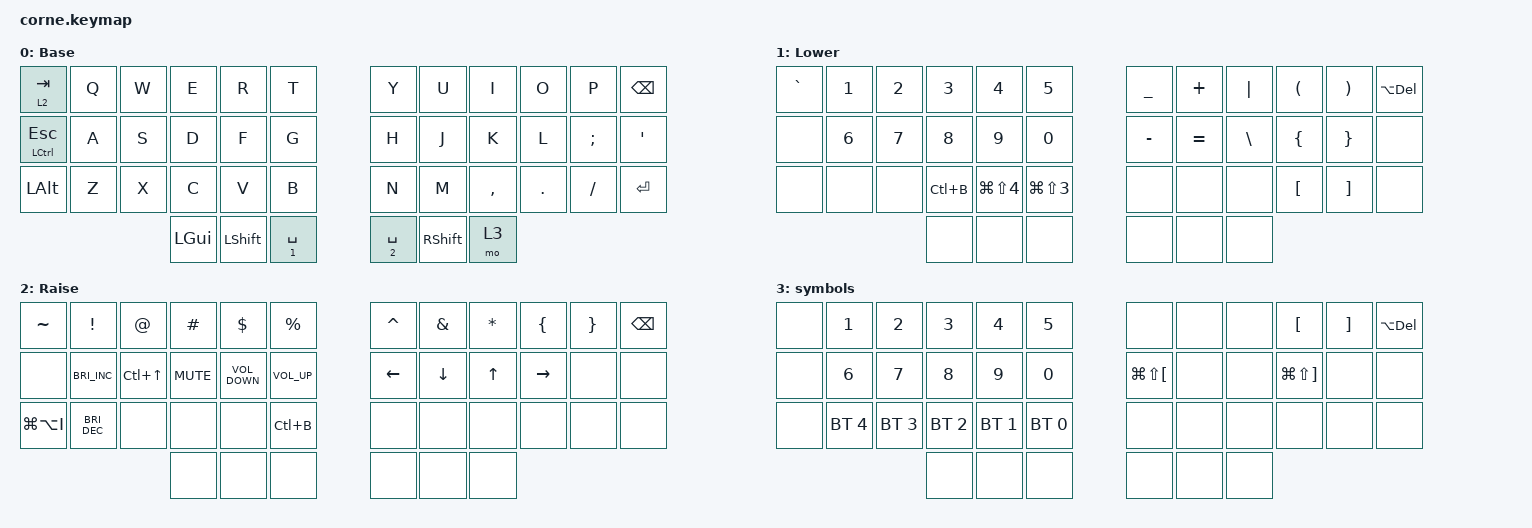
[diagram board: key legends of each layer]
/*
 * Copyright (c) 2020 The ZMK Contributors
 *
 * SPDX-License-Identifier: MIT
 */

#include <behaviors.dtsi>
#include <dt-bindings/zmk/bt.h>
#include <dt-bindings/zmk/keys.h>

/ {
    behaviors {
        new_behavior_hold: new_behavior_hold {
            compatible = "zmk,behavior-hold-tap";
            label = "NEW_BEHAVIOR_HOLD";
            #binding-cells = <2>;
            tapping-term-ms = <150>;
            bindings = <&lt>, <&kp>;

            flavor = "tap-preferred";
            quick-tap-ms = <150>;
        };
    };

    combos {
        compatible = "zmk,combos";

        left {
            bindings = <&kp LEFT>;
            key-positions = <12 18>;
        };

        down {
            bindings = <&kp DOWN_ARROW>;
            key-positions = <12 19>;
        };

        up {
            bindings = <&kp UP_ARROW>;
            key-positions = <12 20>;
        };

        right {
            bindings = <&kp RIGHT_ARROW>;
            key-positions = <12 21>;
        };

        wordbackspace {
            bindings = <&kp LA(DELETE)>;
            key-positions = <36 11>;
            layers = <0>;
        };

        deleteword {
            bindings = <&kp LA(DEL)>;
            key-positions = <11 24>;
        };
    };

    keymap {
        compatible = "zmk,keymap";

        default_layer {
            // -----------------------------------------------------------------------------------------
            // |  TAB |  Q  |  W  |  E  |  R  |  T  |   |  Y  |  U   |  I  |  O  |  P  | BKSP |
            // | CTRL |  A  |  S  |  D  |  F  |  G  |   |  H  |  J   |  K  |  L  |  ;  |  '   |
            // | SHFT |  Z  |  X  |  C  |  V  |  B  |   |  N  |  M   |  ,  |  .  |  /  | ESC  |
            //                    | GUI | LWR | SPC |   | ENT | RSE  | ALT |

            display-name = "Base";
            bindings = <
&lt 2 TAB         &kp Q  &kp W  &kp E         &kp R           &kp T                         &kp Y                       &kp U            &kp I      &kp O    &kp P     &kp BSPC
&mt LCTRL ESCAPE  &kp A  &kp S  &kp D         &kp F           &kp G                         &kp H                       &kp J            &kp K      &kp L    &kp SEMI  &kp SQT
&kp LEFT_ALT      &kp Z  &kp X  &kp C         &kp V           &kp B                         &kp N                       &kp M            &kp COMMA  &kp DOT  &kp FSLH  &kp ENTER
                                &kp LEFT_GUI  &kp LEFT_SHIFT  &new_behavior_hold 1 SPACE    &new_behavior_hold 2 SPACE  &kp RIGHT_SHIFT  &mo 3
            >;
        };

        Lower {
            // -----------------------------------------------------------------------------------------
            // |  TAB |  1  |  2  |  3  |  4  |  5  |   |  6  |  7  |  8  |  9  |  0  | BKSP |
            // | BTCLR| BT1 | BT2 | BT3 | BT4 | BT5 |   | LFT | DWN |  UP | RGT |     |      |
            // | SHFT |     |     |     |     |     |   |     |     |     |     |     |      |
            //                    | GUI |     | SPC |   | ENT |     | ALT |

            display-name = "Lower";
            bindings = <
&kp GRAVE  &kp NUMBER_1  &kp NUMBER_2  &kp NUMBER_3  &kp NUMBER_4          &kp N5                  &kp UNDERSCORE  &kp PLUS   &kp PIPE       &kp LEFT_PARENTHESIS  &kp RIGHT_PARENTHESIS  &kp LA(DELETE)
&none      &kp NUMBER_6  &kp N7        &kp N8        &kp N9                &kp N0                  &kp MINUS       &kp EQUAL  &kp BACKSLASH  &kp LEFT_BRACE        &kp RIGHT_BRACE        &none
&none      &none         &none         &kp LC(B)     &kp LG(LS(NUMBER_4))  &kp LG(LS(NUMBER_3))    &none           &none      &none          &kp LEFT_BRACKET      &kp RIGHT_BRACKET      &none
                                       &none         &none                 &none                   &none           &none      &none
            >;
        };

        Raise {
            display-name = "Raise";
            bindings = <
&kp TILDE      &kp EXCLAMATION       &kp AT            &kp HASH    &kp DLLR           &kp PRCNT          &kp CARET  &kp AMPERSAND  &kp ASTERISK  &kp LEFT_BRACE  &kp RIGHT_BRACE  &kp BSPC
&none          &kp C_BRIGHTNESS_INC  &kp LC(UP_ARROW)  &kp K_MUTE  &kp C_VOLUME_DOWN  &kp C_VOLUME_UP    &kp LEFT   &kp DOWN       &kp UP        &kp RIGHT       &none            &none
&kp LG(LA(I))  &kp C_BRIGHTNESS_DEC  &none             &none       &none              &kp LC(B)          &none      &none          &none         &none           &none            &none
                                                       &none       &none              &none              &none      &none          &none
            >;
        };

        Symbols {
            // -----------------------------------------------------------------------------------------
            // |  TAB |  !  |  @  |  #  |  $  |  %  |   |  ^  |  &  |  *  |  (  |  )  | BKSP |
            // | CTRL |     |     |     |     |     |   |  -  |  =  |  [  |  ]  |  \  |  `   |
            // | SHFT |     |     |     |     |     |   |  _  |  +  |  {  |  }  | "|" |  ~   |
            //                    | GUI |     | SPC |   | ENT |     | ALT |

            display-name = "symbols";
            bindings = <
&none  &kp NUMBER_1  &kp NUMBER_2  &kp NUMBER_3  &kp NUMBER_4  &kp NUMBER_5    &none                     &none  &none  &kp LEFT_BRACKET           &kp RIGHT_BRACKET  &kp LA(DELETE)
&none  &kp NUMBER_6  &kp NUMBER_7  &kp NUMBER_8  &kp NUMBER_9  &kp NUMBER_0    &kp LG(LS(LEFT_BRACKET))  &none  &none  &kp LG(LS(RIGHT_BRACKET))  &none              &none
&none  &bt BT_SEL 4  &bt BT_SEL 3  &bt BT_SEL 2  &bt BT_SEL 1  &bt BT_SEL 0    &none                     &none  &none  &none                      &none              &none
                                   &none         &none         &none           &none                     &none  &none
            >;
        };
    };
};
